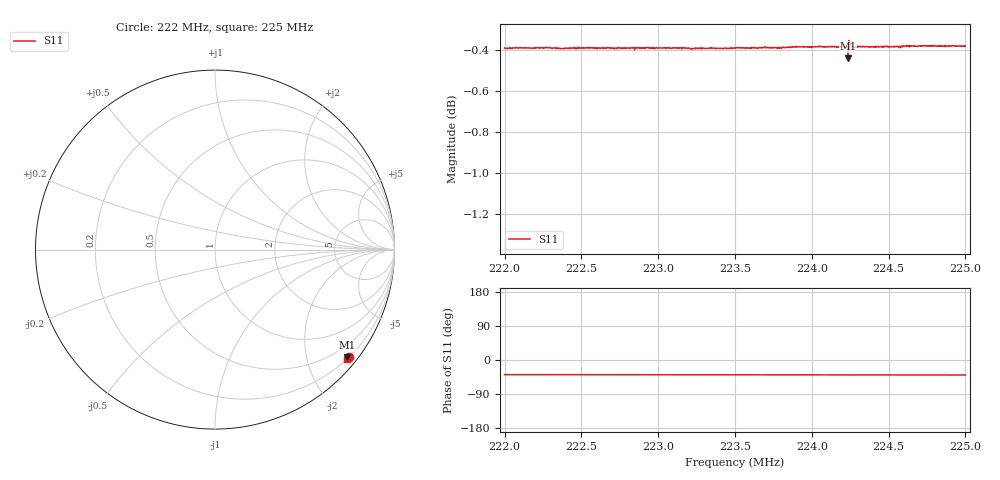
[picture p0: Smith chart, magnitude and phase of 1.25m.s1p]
! Calibrated averaged scanner-service zoom
# Hz S RI R 50
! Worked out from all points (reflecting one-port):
!   1001 points, 222 MHz to 225 MHz, reference 50 ohm
!   lowest |S11| = -0.4 dB at 224.24 MHz (marker M1), VSWR 39.34, Z = 11.3 - j140 ohm
!   phase of S11 starts at -39 deg and turns -1 deg over the sweep
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2.22e8  0.7464 -0.5973
2.22285e8  0.7459 -0.5982
2.22375e8  0.7452 -0.5983
2.22456e8  0.745 -0.5988
2.2275e8  0.7445 -0.5996
2.22861e8  0.7445 -0.6
2.22933e8  0.7439 -0.6009
2.23125e8  0.7432 -0.6011
2.23383e8  0.7422 -0.6022
2.235e8  0.7418 -0.603
2.23695e8  0.7419 -0.6032
2.23788e8  0.7412 -0.6037
2.23875e8  0.7417 -0.6038
2.24142e8  0.7406 -0.6058
2.24214e8  0.7404 -0.6058
2.24223e8  0.7404 -0.6057
2.24235e8  0.7377 -0.5992
2.24238e8  0.7401 -0.6059
2.2425e8  0.7404 -0.6061
2.24253e8  0.7385 -0.6105
2.24265e8  0.7402 -0.606
2.24277e8  0.7401 -0.6059
2.24388e8  0.7399 -0.6063
2.24574e8  0.7387 -0.607
2.24625e8  0.7397 -0.6077
2.24685e8  0.7391 -0.6077
2.24766e8  0.7388 -0.6088
2.25e8  0.7379 -0.6095
